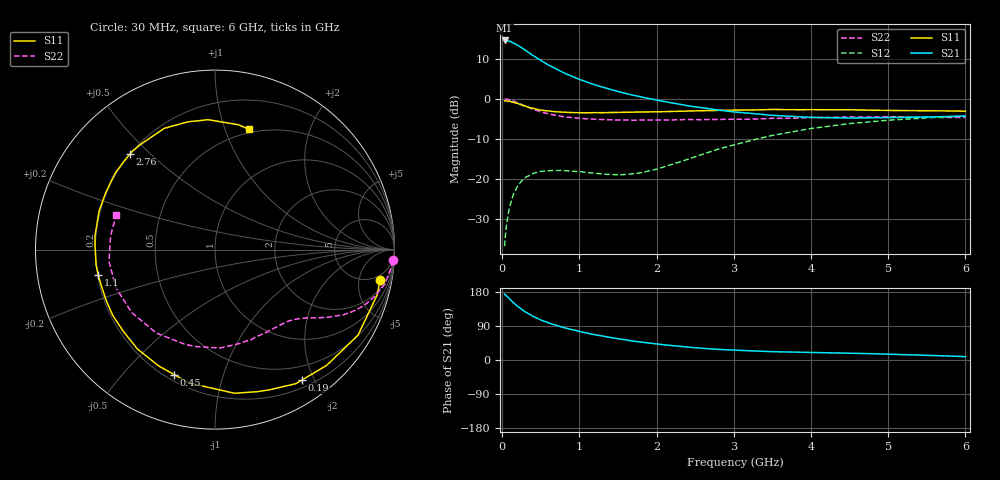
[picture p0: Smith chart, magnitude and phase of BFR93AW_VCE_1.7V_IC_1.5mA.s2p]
! Infineon Technologies  Discrete & RF Semiconductors
! BFR93AW
! VCE =  1.7 V,  IC =  1.5 mA
! Common Emitter S-Parameters:  Nov 2015
# GHz  S  MA  R  50
!  f  S11  S21  S12  S22
! GHz  MAG  ANG  MAG  ANG  MAG  ANG  MAG  ANG
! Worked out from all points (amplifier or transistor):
!   206 points, 30 MHz to 6 GHz, reference 50 ohm
!   highest |S21| = 14.5 dB at 30 MHz (marker M1)
!   |S21| within 3 dB of that: start of sweep to 339.9 MHz
!   unconditionally stable (mu >= 1): 1.291 GHz to 2.575 GHz; 5.166 GHz to end of sweep
!   at 200 MHz: K = 0.14, MSG = 17.6 dB, |S12| = -21.8 dB
!   at 1.56 GHz: K = 1.18, MAG = 7.6 dB, |S12| = -19.0 dB
!   at 6 GHz: K = 1.02, MAG = -0.8 dB, |S12| = -4.3 dB
!   S11 on the Smith chart (normalised r, x): 30 MHz: 4, -10; 190 MHz: 0.30, -1.83; 450 MHz: 0.23, -0.70; 1.1 GHz: 0.20, -0.10; 2.76 GHz: 0.20, +0.44; 6 GHz: 0.47, +1.22
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0.03  0.9352 -10.3  5.312 173.9  0.0144 83.0  0.9927 -3.5
0.055  0.9342 -17.1  5.277 168.6  0.0265 79.7  0.9848 -6.3
0.1  0.9284 -30.9  5.19 159.6  0.0466 72.6  0.9658 -11.5
0.15  0.8962 -46.0  4.924 149.8  0.0657 64.4  0.927 -16.4
0.19  0.8734 -56.3  4.686 143.1  0.078 58.8  0.8943 -19.7
0.24  0.8383 -68.7  4.369 135.1  0.0912 52.8  0.8515 -23.4
0.3  0.808 -82.2  4.007 126.6  0.1039 46.7  0.8038 -26.8
0.4  0.7577 -100.8  3.436 114.9  0.1165 38.8  0.7336 -30.9
0.45  0.7326 -108.1  3.204 110.5  0.1199 35.9  0.707 -32.4
0.5  0.7201 -115.8  2.993 105.4  0.1235 33.2  0.6809 -34.0
0.6  0.7024 -128.0  2.616 97.7  0.1263 29.4  0.6431 -36.2
0.7  0.6843 -138.3  2.333 91.2  0.1269 26.6  0.6157 -38.5
0.82  0.6748 -148.9  2.049 84.2  0.126 24.9  0.5897 -41.3
1.04  0.6642 -164.0  1.68 73.5  0.1214 24.7  0.5633 -46.2
1.1  0.666 -167.6  1.6 70.7  0.1198 24.9  0.5578 -48.0
1.5  0.6729 173.3  1.223 56.1  0.1121 35.5  0.5421 -58.7
2.02  0.6853 153.7  0.949 41.6  0.1335 55.9  0.5408 -75.0
2.76  0.713 131.5  0.728 28.5  0.2279 66.3  0.5487 -99.5
3.1  0.7183 122.6  0.669 25.2  0.2805 64.3  0.5524 -110.6
4.1  0.7257 100.2  0.581 19.6  0.4351 50.8  0.58 -146.1
5.1  0.7097 84.5  0.582 14.9  0.5441 34.6  0.59 -176.4
6  0.6966 74.0  0.605 8.9  0.6075 22.1  0.5833 160.6
